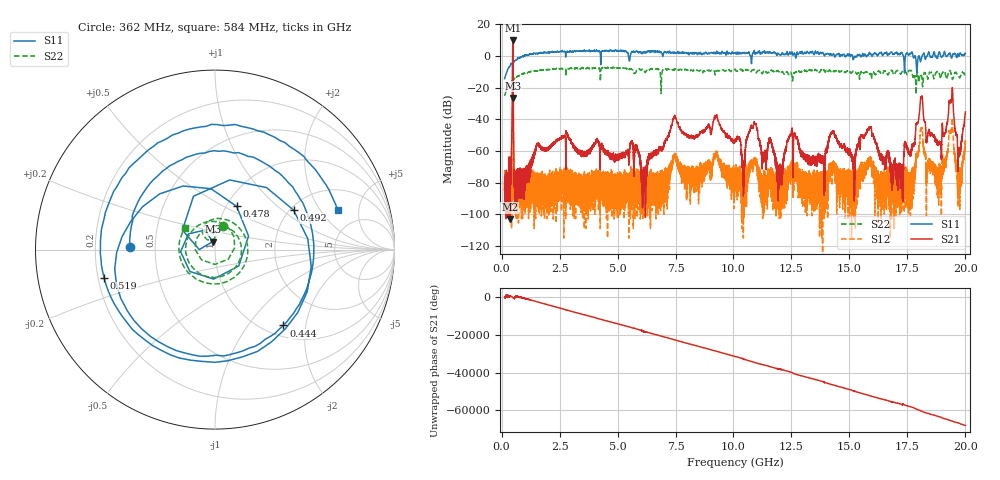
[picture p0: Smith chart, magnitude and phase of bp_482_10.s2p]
!Created with skrf (http://scikit-rf.org).
# GHz S RI R 50.0
!freq ReS11 ImS11 ReS21 ImS21 ReS12 ImS12 ReS22 ImS22
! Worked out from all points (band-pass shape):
!   20013 points, 130 MHz to 20 GHz, reference 50 ohm
!   highest |S21| = 9.79 dB at 485 MHz (marker M1); lowest = -103.1 dB at 350 MHz (marker M2)
!   |S21| within 3 dB of the highest: 476.5 MHz to 488.4 MHz (11.9 MHz wide, 2.47 % of centre)
!   lowest |S11| = -26.6 dB at 486 MHz (marker M3), VSWR 1.10, Z = 48.5 + j4.37 ohm
!   |S11| at or under -10 dB: start of sweep to 232.6 MHz; 477.3 MHz to 489 MHz (11.66 MHz wide, 2.41 % of centre); 17.90021 GHz to 17.91149 GHz (11.29 MHz wide, 0.063 % of centre) (the widest 3 of 4)
!   |S22| runs from -25.2 to -7.1 dB; largest |S21 - S12| = 3.1
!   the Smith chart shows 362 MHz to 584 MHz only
!   S11 on the Smith chart (normalised r, x): 362 MHz: 0.36, +0.01; 444 MHz: 1.20, -1.50; 478 MHz: 1.12, +0.58; 492 MHz: 2.08, +1.21; 519 MHz: 0.22, -0.12; 584 MHz: 3.27, +2.95
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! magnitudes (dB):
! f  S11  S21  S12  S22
! 130 MHz  -14.3  -84.7  -75.7  -25.2
! 350 MHz  -6.7  -103.1  -86.7  -17.4
! 362 MHz  -6.5  -83.6  -82.5  -17.0
! 444 MHz  -4.9  -45.5  -76.3  -15.7
! 478 MHz  -11.4  8.1  -36.9  -19.2
! 485 MHz  -18.2  9.8  -35.1  -24.0
! 486 MHz  -26.6  9.7  -35.1  -25.2
! 492 MHz  -6.2  -3.6  -48.4  -15.4
! 519 MHz  -3.9  -49.0  -74.8  -14.7
! 584 MHz  -2.9  -76.0  -87.5  -13.8
! 3.442 GHz  2.8  -61.8  -83.6  -7.7
! 6.754 GHz  2.5  -59.7  -76.0  -8.5
! 7.463 GHz  2.4  -37.7  -62.4  -8.6
! 10.06 GHz  2.0  -53.3  -81.4  -8.4
! 13.38 GHz  2.2  -65.8  -101.0  -9.1
! 16.69 GHz  1.4  -62.5  -77.6  -11.4
! 17.23 GHz  2.0  -71.7  -78.3  -11.2
! 18.09 GHz  -2.4  -26.5  -46.5  -12.4
! 18.87 GHz  2.6  -54.4  -74.5  -11.1
! 19.39 GHz  -1.1  -29.3  -48.2  -11.5
! 19.74 GHz  0.4  -58.8  -72.4  -13.7
! 20 GHz  1.6  -35.3  -53.5  -13.1
